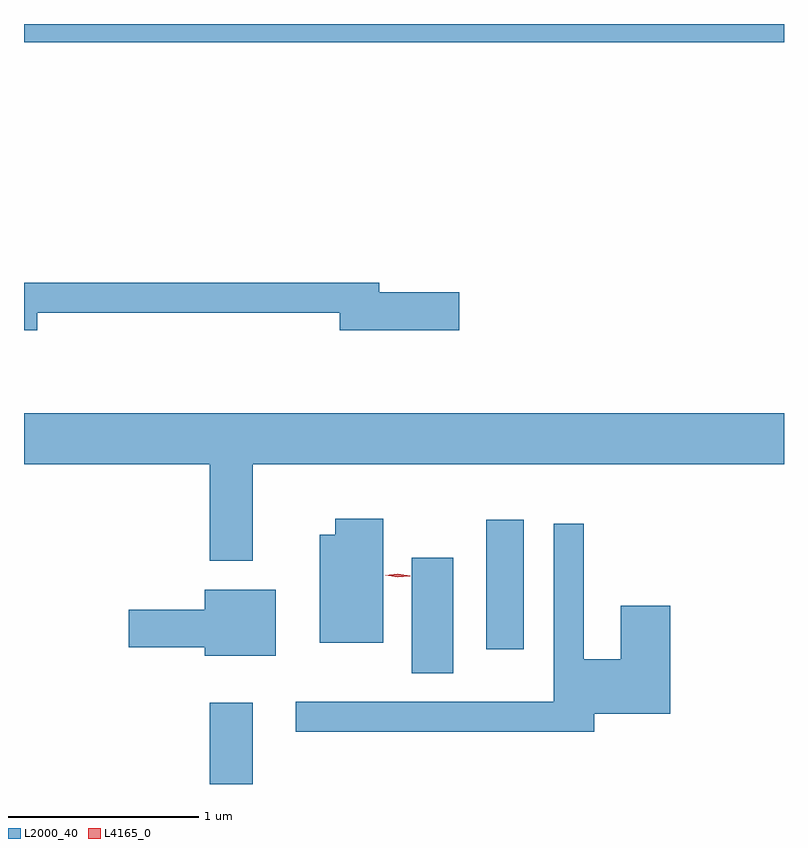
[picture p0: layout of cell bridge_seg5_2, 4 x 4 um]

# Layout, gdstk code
import gdstk
lib = gdstk.Library(unit=1e-6, precision=1e-09)
def R(c, l, rs):  # rectangles x0, y0, x1, y1
    for r in rs: c.add(gdstk.rectangle(r[:2], r[2:], *l))
def P(c, l, *ps):  # polygons
    for p in ps: c.add(gdstk.Polygon(p, *l))
L2000_40 = (2000, 40)
L4165_0 = (4165, 0)

bridge_seg5_2 = lib.new_cell('bridge_seg5_2')
R(bridge_seg5_2, L2000_40, [(1527.711,1506.172,1527.939,1506.599), (1528.776,1506.756,1528.994,1507.364), (1529.166,1506.881,1529.364,1507.564), (1526.734,1510.076,1530.734,1510.172)])
P(bridge_seg5_2, L2000_40, [(1526.804,1508.651),(1528.396,1508.651),(1528.396,1508.561),(1529.024,1508.561),(1529.024,1508.759),(1528.604,1508.759),(1528.604,1508.809),(1526.734,1508.809),(1526.734,1508.561),(1526.804,1508.561)],
  [(1527.939,1507.856),(1530.734,1507.856),(1530.734,1508.124),(1526.734,1508.124),(1526.734,1507.856),(1527.711,1507.856),(1527.711,1507.346),(1527.939,1507.346)],
  [(1528.624,1507.569),(1528.371,1507.569),(1528.371,1507.484),(1528.291,1507.484),(1528.291,1506.916),(1528.624,1506.916)],
  [(1529.734,1506.541),(1530.134,1506.541),(1530.134,1507.109),(1529.876,1507.109),(1529.876,1506.829),(1529.679,1506.829),(1529.679,1507.543),(1529.521,1507.543),(1529.521,1506.604),(1528.163,1506.604),(1528.163,1506.446),(1529.734,1506.446)],
  [(1528.059,1507.194),(1527.686,1507.194),(1527.686,1507.089),(1527.286,1507.089),(1527.286,1506.891),(1527.686,1506.891),(1527.686,1506.846),(1528.059,1506.846)])
P(bridge_seg5_2, L4165_0, [(1528.701,1507.259),(1528.635,1507.271),(1528.634,1507.271),(1528.635,1507.272),(1528.702,1507.279),(1528.767,1507.267),(1528.768,1507.267),(1528.767,1507.266)])

lib.write_gds('bridge_seg5_2.gds')
